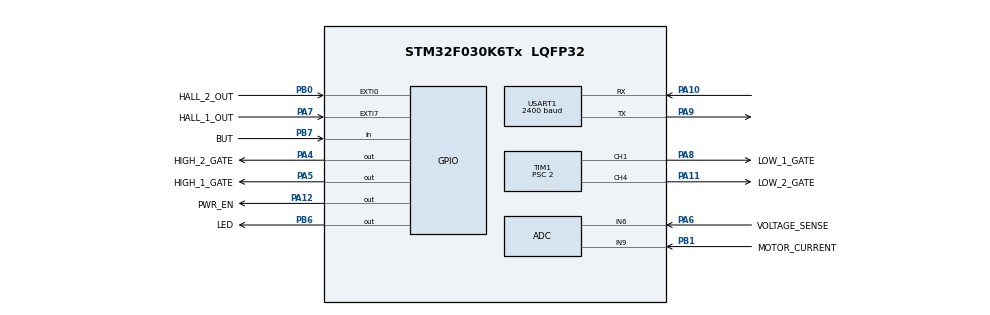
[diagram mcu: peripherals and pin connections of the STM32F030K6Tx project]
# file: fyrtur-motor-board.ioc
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ADC.ClockPrescaler=ADC_CLOCK_SYNC_PCLK_DIV4
ADC.ContinuousConvMode=ENABLE
ADC.DMAContinuousRequests=ENABLE
ADC.EOCSelection=ADC_EOC_SINGLE_CONV
ADC.Overrun=ADC_OVR_DATA_OVERWRITTEN
ADC.SamplingTime=ADC_SAMPLETIME_239CYCLES_5
Dma.ADC.0.Direction=DMA_PERIPH_TO_MEMORY
Dma.ADC.0.Instance=DMA1_Channel1
Dma.ADC.0.MemDataAlignment=DMA_MDATAALIGN_HALFWORD
Dma.ADC.0.MemInc=DMA_MINC_ENABLE
Dma.ADC.0.Mode=DMA_CIRCULAR
Dma.ADC.0.PeriphDataAlignment=DMA_PDATAALIGN_HALFWORD
Dma.ADC.0.PeriphInc=DMA_PINC_DISABLE
Dma.ADC.0.Priority=DMA_PRIORITY_LOW
Dma.Request0=ADC
Dma.Request1=USART1_RX
Dma.Request2=USART1_TX
Dma.USART1_RX.1.Direction=DMA_PERIPH_TO_MEMORY
Dma.USART1_RX.1.Instance=DMA1_Channel3
Dma.USART1_RX.1.MemDataAlignment=DMA_MDATAALIGN_BYTE
Dma.USART1_RX.1.MemInc=DMA_MINC_ENABLE
Dma.USART1_RX.1.Mode=DMA_CIRCULAR
Dma.USART1_RX.1.PeriphDataAlignment=DMA_PDATAALIGN_BYTE
Dma.USART1_RX.1.PeriphInc=DMA_PINC_DISABLE
Dma.USART1_RX.1.Priority=DMA_PRIORITY_HIGH
Dma.USART1_TX.2.Direction=DMA_MEMORY_TO_PERIPH
Dma.USART1_TX.2.Instance=DMA1_Channel2
Dma.USART1_TX.2.MemDataAlignment=DMA_MDATAALIGN_BYTE
Dma.USART1_TX.2.MemInc=DMA_MINC_ENABLE
Dma.USART1_TX.2.Mode=DMA_NORMAL
Dma.USART1_TX.2.PeriphDataAlignment=DMA_PDATAALIGN_BYTE
Dma.USART1_TX.2.PeriphInc=DMA_PINC_DISABLE
Dma.USART1_TX.2.Priority=DMA_PRIORITY_HIGH
Mcu.Family=STM32F0
Mcu.Name=STM32F030K6Tx
Mcu.Package=LQFP32
NVIC.DMA1_Channel1_IRQn=true\:0\:0\:false\:false\:true\:false\:true
NVIC.DMA1_Channel2_3_IRQn=true\:0\:0\:false\:false\:true\:false\:true
NVIC.EXTI0_1_IRQn=true\:0\:0\:false\:false\:true\:true\:true
NVIC.EXTI4_15_IRQn=true\:0\:0\:false\:false\:true\:true\:true
NVIC.TIM3_IRQn=true\:0\:0\:false\:false\:true\:true\:true
NVIC.USART1_IRQn=true\:0\:0\:false\:false\:true\:true\:true
PA10.Mode=Asynchronous
PA10.Signal=USART1_RX
PA11.GPIO_Label=LOW_2_GATE
PA11.GPIO_PuPd=GPIO_PULLDOWN
PA11.Signal=S_TIM1_CH4
PA12.GPIO_Label=PWR_EN
PA12.Signal=GPIO_Output
PA13.Mode=Serial_Wire
PA13.Signal=SYS_SWDIO
PA14.Mode=Serial_Wire
PA14.Signal=SYS_SWCLK
PA4.GPIO_Label=HIGH_2_GATE
PA4.Signal=GPIO_Output
PA5.GPIO_Label=HIGH_1_GATE
PA5.Signal=GPIO_Output
PA6.GPIO_Label=VOLTAGE_SENSE
PA6.Mode=IN6
PA6.Signal=ADC_IN6
PA7.GPIO_Label=HALL_1_OUT
PA7.GPIO_ModeDefaultEXTI=GPIO_MODE_IT_RISING_FALLING
PA7.GPIO_PuPd=GPIO_PULLUP
PA7.Signal=GPXTI7
PA8.GPIO_Label=LOW_1_GATE
PA8.GPIO_PuPd=GPIO_PULLDOWN
PA8.Signal=S_TIM1_CH1
PA9.Mode=Asynchronous
PA9.Signal=USART1_TX
PB0.GPIO_Label=HALL_2_OUT
PB0.GPIO_ModeDefaultEXTI=GPIO_MODE_IT_RISING_FALLING
PB0.GPIO_PuPd=GPIO_PULLUP
PB0.Signal=GPXTI0
PB1.GPIO_Label=MOTOR_CURRENT
PB1.Mode=IN9
PB1.Signal=ADC_IN9
PB6.GPIO_Label=LED
PB6.Signal=GPIO_Output
PB7.GPIO_Label=BUT
PB7.Signal=GPIO_Input
ProjectManager.HeapSize=0x200
ProjectManager.StackSize=0x400
ProjectManager.TargetToolchain=Makefile
SH.S_TIM1_CH1.0=TIM1_CH1,PWM Generation1 CH1
SH.S_TIM1_CH4.0=TIM1_CH4,PWM Generation4 CH4
TIM1.Channel-PWM\ Generation1\ CH1=TIM_CHANNEL_1
TIM1.Channel-PWM\ Generation4\ CH4=TIM_CHANNEL_4
TIM1.Period=256
TIM1.Prescaler=2
TIM3.Channel-Output\ Compare1\ No\ Output=TIM_CHANNEL_1
TIM3.Period=80
TIM3.Prescaler=1000
USART1.BaudRate=2400
USART1.VirtualMode-Asynchronous=VM_ASYNC
VP_TIM3_VS_ClockSourceINT.Mode=Internal
VP_TIM3_VS_no_output1.Mode=Output Compare1 No Output
board=custom

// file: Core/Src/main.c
/* USER CODE BEGIN Header */
/**
  ******************************************************************************
  * @file           : main.c
  * @brief          : Main program body
  ******************************************************************************
  * @attention
  *
  * <h2><center>&copy; Copyright (c) 2020 STMicroelectronics.
  * All rights reserved.</center></h2>
  *
  * This software component is licensed by ST under BSD 3-Clause license,
  * the "License"; You may not use this file except in compliance with the
  * License. You may obtain a copy of the License at:
  *                        opensource.org/licenses/BSD-3-Clause
  *
  ******************************************************************************
  */
/* USER CODE END Header */
#include "main.h"

/* USER CODE BEGIN Includes */
#include "motor.h"
#include "eeprom.h"
/* USER CODE END Includes */

/* USER CODE BEGIN PD */
#define ADC_BUF_LEN 2*32

/* USER CODE END PD */

ADC_HandleTypeDef hadc;
DMA_HandleTypeDef hdma_adc;

TIM_HandleTypeDef htim1;
TIM_HandleTypeDef htim3;

UART_HandleTypeDef huart1;
DMA_HandleTypeDef hdma_usart1_rx;
DMA_HandleTypeDef hdma_usart1_tx;

extern uint32_t idle_mode_sleep_delay;

/* USER CODE BEGIN PV */

// UART RX buffers
DMA_Event_t dma_uart_rx = {0,0,UART_DMA_BUF_SIZE};
uint8_t uart_dma_rx_buffer[UART_DMA_BUF_SIZE]; // circular DMA rx buffer
uint8_t uart_rx_buffer[UART_DMA_BUF_SIZE]; // contains newly received data
uint16_t uart_rx_buffer_len = 0;

// UART TX buffers
uint8_t uart_dma_tx_buffer[UART_DMA_BUF_SIZE]; // circular DMA tx buffer
uint8_t uart_dma_tx_size = 0;  // the chunk size which is being transferred currently
uint16_t uart_dma_tx_buffer_len = 0;  // bytes in the circular buffer
uint16_t uart_dma_tx_buffer_high_ptr = 0; // pointer for writing new data
uint16_t uart_dma_tx_buffer_low_ptr = 0; // pointer for reading data to DMA
uint8_t uart_tx_buffer[16]; // contains newly assembled packet to be transferred to DMA buffer

uint8_t blink;

uint16_t adc_buf[ADC_BUF_LEN];

uint16_t motor_current;
uint16_t voltage;

/*
 * Used to track when motor is idle and no commands have been issued.
 * After IDLE_MODE_SLEEP_DELAY milliseconds sleep mode is entered.
 * If set to 0 then sleep mode is disabled temporarily (e.g. during movement and calibration)
 */
uint32_t idle_timestamp;

/* USER CODE END PV */

void SystemClock_Config(void);
static void MX_GPIO_Init(void);
static void MX_DMA_Init(void);
static void MX_ADC_Init(void);
static void MX_USART1_UART_Init(void);
static void MX_TIM1_Init(void);
static void MX_TIM3_Init(void);

/* USER CODE BEGIN 0 */
uint16_t lowest_voltage = 8.4*16*30;

// Calculate the average voltage and current of 32 previous measurements
void HAL_ADC_ConvCpltCallback(ADC_HandleTypeDef* hadc) {
	uint32_t avg_curr = 0, avg_voltage = 0;
	for (int i=0;i<ADC_BUF_LEN/2;i++) {
		avg_curr += adc_buf[i*2+1] * 2;	// current in mA
		avg_voltage += adc_buf[i*2+0];	// values are Volts * 30 * 16
	}
	motor_current = avg_curr / (ADC_BUF_LEN/2);
	voltage = avg_voltage / (ADC_BUF_LEN/2);
  if (voltage < lowest_voltage) {
    lowest_voltage = voltage;
  }
}

uint16_t get_voltage() {
  return voltage;
}

uint16_t get_motor_current() {
	return motor_current;
}

// S-shaped battery/voltage curve mimicking the values reported by original Fyrtur module
uint8_t get_battery_level() {
	uint16_t v = get_voltage() / 16; // For easier calculation use the values reported by original Fyrtur module
	if (v < 200)
		return 0;
	if (v <= 215)
		return 0 + (v - 200) * (16-0) / (215-200);
	if (v <= 218)
		return 16 + (v - 215) * (27-16) / (218-215);
	if (v <= 221)
		return 27 + (v - 218) * (43-27) / (221-218);
	if (v <= 228)
		return 43 + (v - 221) * (62-43) / (228-221);
	if (v <= 246)
		return 62 + (v - 228) * (91-62) / (246-228);
	return 91 + (v - 246) * (100-91) / (255-246);
}

void pwm_start( uint32_t channel ) {
	if (htim1.Instance != NULL)
		HAL_TIM_PWM_Start(&htim1, channel);

}

void pwm_stop( uint32_t channel ) {
	if (htim1.Instance != NULL)
		HAL_TIM_PWM_Stop(&htim1, channel);
}

#ifndef SLIM_BINARY
void blink_led(int duration, int count) {
	for (int i=0;i<count;i++) {
		HAL_GPIO_WritePin(LED_GPIO_Port, LED_Pin, GPIO_PIN_SET);
		HAL_Delay(duration);
		HAL_GPIO_WritePin(LED_GPIO_Port, LED_Pin, GPIO_PIN_RESET);
		HAL_Delay(duration);
	}
}
#endif

/* Called every 10ms by TIM3 */
void HAL_TIM_PeriodElapsedCallback(TIM_HandleTypeDef* htim)
{
	motor_adjust_rpm();
}

uint8_t uart_tx_done() {
  return uart_dma_tx_buffer_len == 0;
}

void uart_start_rx_DMA() {
  if(HAL_UART_Receive_DMA(&huart1, (uint8_t*)uart_dma_rx_buffer, UART_DMA_BUF_SIZE) != HAL_OK)
      {
          Error_Handler();
      }
  __HAL_DMA_DISABLE_IT(huart1.hdmarx, DMA_IT_HT);  // disable half-transfer interrupt
  // Reset also the buffer pointer
  dma_uart_rx.prevCNDTR = UART_DMA_BUF_SIZE;
}

void uart_do_transmit_msg() {
    if (uart_dma_tx_buffer_low_ptr + uart_dma_tx_buffer_len < UART_DMA_BUF_SIZE) {
      // we can transfer the whole tx buffer right away
      uart_dma_tx_size = uart_dma_tx_buffer_len;
    } else {
      // we can transfer bytes only up to the end of circular buffer
      uart_dma_tx_size = UART_DMA_BUF_SIZE - uart_dma_tx_buffer_low_ptr;
    }
    HAL_UART_Transmit_DMA(&huart1, &uart_dma_tx_buffer[uart_dma_tx_buffer_low_ptr], uart_dma_tx_size);
}

void uart_send_msg(uint8_t * data, int tx_bytes) {

  if (uart_dma_tx_buffer_len + tx_bytes > UART_DMA_BUF_SIZE) {
    // Buffer overrun shouldn't happen in normal use! Should this occur when debugging/testing, skip sending this message
    // so that previous data in tx buffer is not overwritten
    blink += 5;
    return;
  }
  // transfer the packet to circular tx buffer
  for (int i=0;i<tx_bytes;i++) {
    uart_dma_tx_buffer[ uart_dma_tx_buffer_high_ptr++ ] = data[i];
    if (uart_dma_tx_buffer_high_ptr >= UART_DMA_BUF_SIZE) {
      uart_dma_tx_buffer_high_ptr = 0;
    }
    uart_dma_tx_buffer_len++;
  }
  // if DMA tx is not busy we can send the packet right away. Otherwise continue sending in HAL_UART_TxCpltCallback
  if (uart_dma_tx_size == 0) {
    uart_do_transmit_msg();
  }
}

void send_error_msg() {
    // Send ERROR MSG: Send back the number of bytes received and
    // 1) first four received bytes if we received less bytes than anticipated (6 bytes)
    // 2) the 2 command bytes and checksum (because we received 6 bytes but there was checksum mismatch)
    uart_tx_buffer[0] = 0xde;
    uart_tx_buffer[1] = 0xad;
    uart_tx_buffer[2] = uart_rx_buffer_len;
    if (uart_rx_buffer_len<6) {
      uart_tx_buffer[3] = uart_rx_buffer[0];
      uart_tx_buffer[4] = uart_rx_buffer[1];
      uart_tx_buffer[5] = uart_rx_buffer[2];
      uart_tx_buffer[6] = uart_rx_buffer[3];
    } else {
      uart_tx_buffer[3] = uart_rx_buffer[3];
      uart_tx_buffer[4] = uart_rx_buffer[4];
      uart_tx_buffer[5] = uart_rx_buffer[5];
      uart_tx_buffer[6] = 0;
    }
    uart_tx_buffer[7] = uart_tx_buffer[3] ^ uart_tx_buffer[4] ^ uart_tx_buffer[5] ^ uart_tx_buffer[6];
    uart_send_msg(uart_tx_buffer, 8);
}

void HAL_UART_RxCpltCallback(UART_HandleTypeDef *huart)
{
	uint16_t i, pos, start, length;
	uint16_t currCNDTR = __HAL_DMA_GET_COUNTER(huart->hdmarx);

	/* Ignore IDLE Timeout when the received characters exactly filled up the DMA buffer and DMA Rx Complete IT is generated, but there is no new character during timeout */
	if(dma_uart_rx.flag && currCNDTR == UART_DMA_BUF_SIZE)
	{
		dma_uart_rx.flag = 0;
		return;
	}

	/* Determine start position in DMA buffer based on previous CNDTR value */
	start = (dma_uart_rx.prevCNDTR < UART_DMA_BUF_SIZE) ? (UART_DMA_BUF_SIZE - dma_uart_rx.prevCNDTR) : 0;

	if(dma_uart_rx.flag)    /* Timeout event */
	{
		/* Determine new data length based on previous DMA_CNDTR value:
		 *  If previous CNDTR is less than DMA buffer size: there is old data in DMA buffer (from previous timeout) that has to be ignored.
		 *  If CNDTR == DMA buffer size: entire buffer content is new and has to be processed.
		*/
		length = (dma_uart_rx.prevCNDTR < UART_DMA_BUF_SIZE) ? (dma_uart_rx.prevCNDTR - currCNDTR) : (UART_DMA_BUF_SIZE - currCNDTR);
		dma_uart_rx.prevCNDTR = currCNDTR;
		dma_uart_rx.flag = 0;

		if ( (length==0) && (uart_rx_buffer_len>0) ) {
			// There was incomplete packet waiting for the rest of the data which never came..
      if ( (uart_rx_buffer_len >= 5) && (uart_rx_buffer[0]==0xff) && (uart_rx_buffer[1]==0x9a) ) {
        // After waking up we lost the first byte (0x00) but the two other bytes match, so let's try to process this

        // shift buffer 1 byte forward..
        for(i=0; i<uart_rx_buffer_len; i++)
        {
          uart_rx_buffer[i+1] = uart_dma_rx_buffer[i];
        }
        // and add the missing first byte
        uart_rx_buffer[0] = 0x00;
        uart_rx_buffer_len++;
        // .. processing continues below..

      } else {
        send_error_msg();
        uart_rx_buffer_len = 0;
      }
		}
	}
	else                /* DMA Rx Complete event */
	{
		length = UART_DMA_BUF_SIZE - start;
		dma_uart_rx.prevCNDTR = UART_DMA_BUF_SIZE;
	}

	/* Copy and Process new data */
	// Acknowledge also the possible previously received (incomplete) packet
	for(i=0,pos=start; i<length; ++i,++pos)
	{
		uart_rx_buffer[uart_rx_buffer_len + i] = uart_dma_rx_buffer[pos];
	}
	length += uart_rx_buffer_len;

	// handle the packet(s)
	pos=0;
	uint16_t len = length;
	while (len>=6) {
		uint8_t tx_bytes=0;
		if (handle_command(&uart_rx_buffer[pos], uart_tx_buffer, &tx_bytes )) {
			if (tx_bytes) {
				uart_tx_buffer[0] = 0x00;
				uart_tx_buffer[1] = 0xff;
        // calculate checksum
        uint8_t checksum = 0;
        for (i=3; i<tx_bytes-1; i++) {
          checksum = checksum ^ uart_tx_buffer[i];
        }
        uart_tx_buffer[tx_bytes-1] = checksum;
        uart_send_msg(uart_tx_buffer, tx_bytes);
			}
//      blink += 1;
			pos += 6;
			len -= 6;
		}
	}
	if (pos < length) {
		// Incomplete packet (either true loss of data or we are waiting
		// for more data from DMA but arrived at the end of the cyclic DMA buffer
		// while mid-packet, and must wait for the next DMA interrupt for the rest of the data

		// lets save the first chunk
		len = length - pos;
		if (pos != 0) {
			for (int i=0;i<len;i++)
				uart_rx_buffer[i] = uart_rx_buffer[pos+i];
		}
		uart_rx_buffer_len = len;

		/* Start DMA timer */
		dma_uart_rx.timer = DMA_TIMEOUT_MS;
	} else {
		uart_rx_buffer_len = 0;
	}
}

void HAL_UART_TxCpltCallback(UART_HandleTypeDef *huart) {
  // UART DMA TX is complete. Adjust buffer size and low pointer (read pointer)
  uart_dma_tx_buffer_len -= uart_dma_tx_size;
  uart_dma_tx_buffer_low_ptr += uart_dma_tx_size;
  if (uart_dma_tx_buffer_low_ptr >= UART_DMA_BUF_SIZE) {
    uart_dma_tx_buffer_low_ptr -= UART_DMA_BUF_SIZE;
  }
  if (uart_dma_tx_buffer_len > 0) {
    // transfer more data
    uart_do_transmit_msg();
  } else {
    uart_dma_tx_size = 0;
  }
}

void HAL_UART_ErrorCallback(UART_HandleTypeDef *huart) {
	//Error_Handler();

	// Sometimes HAL_UART_ERROR_FE occurs on power on. Manage this..
  __HAL_UART_CLEAR_OREFLAG(huart);
  __HAL_UART_CLEAR_NEFLAG(huart);
  __HAL_UART_CLEAR_FEFLAG(huart);

  /* Disable the UART Error Interrupt: (Frame error, noise error, overrun error) */
  __HAL_UART_DISABLE_IT(huart, UART_IT_ERR);

  if(huart->Instance == USART1) {
    // Restart the RX DMA
    uart_start_rx_DMA();
  }
}

void HAL_GPIO_EXTI_Callback(uint16_t GPIO_Pin) {
	if (GPIO_Pin == HALL_1_OUT_Pin) {
		  hall_sensor_callback(HALL_1_SENSOR, HAL_GPIO_ReadPin( HALL_1_OUT_GPIO_Port, HALL_1_OUT_Pin));
	} else if (GPIO_Pin == HALL_2_OUT_Pin) {
		  hall_sensor_callback(HALL_2_SENSOR, HAL_GPIO_ReadPin( HALL_2_OUT_GPIO_Port, HALL_2_OUT_Pin));
	}
}

uint8_t sleep_timer_enabled() {
	return (idle_timestamp != 0);
}

void disable_sleep_timer() {
	idle_timestamp = 0; // disable sleep mode timer
}

void reset_sleep_timer() {
	idle_timestamp = HAL_GetTick();
}

uint8_t sleep_timer_timeout() {
  if (idle_mode_sleep_delay > 0) {
    if (idle_timestamp == 0)
      return 0;
    if (HAL_GetTick() - idle_timestamp > idle_mode_sleep_delay)
      return 1;
  }
  return 0;
}

/*
 * Original FW: Sleep mode current consumption 0.350 mA @ 7V (ST-Link connected)
 *
 * This FW:
 *  run (normal mode): 13 mA
 *  sleep mode: 1.7 mA (not used currently)
 *  stop mode: 0.337 mA (ST-Link connected)
 */
void enter_sleep_mode() {

  // Stop TIM3 (motor RPM adjust timer) and ADC
  HAL_TIM_Base_Stop_IT(&htim3);
  HAL_ADC_Stop_DMA(&hadc);

  // Disable HALL sensors and voltage sensor (LM321 op amp)
  HAL_GPIO_WritePin(PWR_EN_GPIO_Port, PWR_EN_Pin, GPIO_PIN_RESET);

#ifdef BLINK_LEDS_WHEN_SLEEP_MODE_CHANGES
  blink_led(100,1);
#endif

  // stop SysTick
  HAL_SuspendTick();

  // Deinitialize UART and use UART1_RX only for wake-up interrupt
  HAL_UART_DeInit(&huart1);

  GPIO_InitTypeDef GPIO_InitStruct = {0};
  GPIO_InitStruct.Pin = GPIO_PIN_10;  // UART1_RX
  GPIO_InitStruct.Mode = GPIO_MODE_IT_FALLING;
  GPIO_InitStruct.Pull = GPIO_NOPULL;
  HAL_GPIO_Init(GPIOA, &GPIO_InitStruct);

#ifdef WAKE_UP_USING_BUTTON
  // Allow waking up with the debug button
  GPIO_InitStruct.Pin = BUT_Pin;
  GPIO_InitStruct.Mode = GPIO_MODE_IT_FALLING;
  GPIO_InitStruct.Pull = GPIO_PULLUP;
  HAL_GPIO_Init(BUT_GPIO_Port, &GPIO_InitStruct);
#endif

  // APB peripheral power interface clock needs to be enabled
  __HAL_RCC_PWR_CLK_ENABLE();

  // --- Go to sleep (Stop mode) ------
  //HAL_PWR_EnterSLEEPMode(PWR_MAINREGULATOR_ON, PWR_SLEEPENTRY_WFE);
  HAL_PWR_EnterSTOPMode(PWR_LOWPOWERREGULATOR_ON, PWR_STOPENTRY_WFI);

  // ---- Now we are awake ---

  // Is this needed?
  // SystemClock_Config();

  // Restart SysTick
  HAL_ResumeTick();

  MX_USART1_UART_Init();

  uart_start_rx_DMA();

#ifdef BLINK_LEDS_WHEN_SLEEP_MODE_CHANGES
  blink_led(100,1);
#endif

#ifdef WAKE_UP_USING_BUTTON
  // Disable BUTTON interrupt because it interferes with HALL #1 sensor interrupt
  /*Configure GPIO pin : BUT_Pin */
  GPIO_InitStruct.Pin = BUT_Pin;
  GPIO_InitStruct.Mode = GPIO_MODE_INPUT;
  GPIO_InitStruct.Pull = GPIO_NOPULL;
  HAL_GPIO_Init(BUT_GPIO_Port, &GPIO_InitStruct);

  GPIO_InitStruct.Pin = HALL_1_OUT_Pin;
  GPIO_InitStruct.Mode = GPIO_MODE_IT_RISING_FALLING;
  GPIO_InitStruct.Pull = GPIO_PULLUP;
  HAL_GPIO_Init(HALL_1_OUT_GPIO_Port, &GPIO_InitStruct);
#endif

  HAL_ADC_Start_DMA(&hadc, (uint32_t*)adc_buf, ADC_BUF_LEN);
  __HAL_DMA_DISABLE_IT(hadc.DMA_Handle, DMA_IT_HT);  // disable half-transfer interrupt

  HAL_TIM_Base_Start_IT(&htim3);

  // Enable HALL sensors and voltage sensor (LM321 op amp)
  HAL_GPIO_WritePin(PWR_EN_GPIO_Port, PWR_EN_Pin, GPIO_PIN_SET);

}

/* USER CODE END 0 */

int main(void)
{
  /* USER CODE BEGIN 1 */
  htim1.Instance = NULL;
  /* USER CODE END 1 */

  /* MCU Configuration--------------------------------------------------------*/

  /* Reset of all peripherals, Initializes the Flash interface and the Systick. */
  HAL_Init();

  /* Configure the system clock */
  SystemClock_Config();

  /* Initialize all configured peripherals */
  MX_GPIO_Init();
  MX_DMA_Init();
  MX_ADC_Init();
  MX_USART1_UART_Init();
  MX_TIM1_Init();
  MX_TIM3_Init();
  /* USER CODE BEGIN 2 */
  HAL_ADC_Start_DMA(&hadc, (uint32_t*)adc_buf, ADC_BUF_LEN);
  __HAL_DMA_DISABLE_IT(hadc.DMA_Handle, DMA_IT_HT);  // disable half-transfer interrupt

  HAL_TIM_Base_Start_IT(&htim3);

  /* Unlock the Flash Program Erase controller */
  HAL_FLASH_Unlock();

#ifndef SLIM_BINARY
  /* EEPROM Init */
  if (EE_Init() != HAL_OK) {
	  // Initing FLASH failed! This should not happen! We will try to continue anyway by setting default values
	  motor_set_default_settings();
  } else {
	  motor_load_settings();
  }
#else
  motor_set_default_settings();
#endif

  /* USER CODE END 2 */

  /* Infinite loop */
  /* USER CODE BEGIN WHILE */

  // Enable HALL sensors and voltage sensor (LM321 op amp)
  HAL_GPIO_WritePin(PWR_EN_GPIO_Port, PWR_EN_Pin, GPIO_PIN_SET);

  // Start UART receiver in DMA mode
  uart_start_rx_DMA();

  motor_init();

#ifndef SLIM_BINARY
  blink_led(500,2);
#endif

  while (1)
  {
    /* USER CODE END WHILE */

    /* USER CODE BEGIN 3 */
	if (blink) {
    uint8_t _blink = blink;
    blink = 0;

#ifndef SLIM_BINARY
		blink_led(100,_blink);
#endif
	}

	motor_process();

  }
  /* USER CODE END 3 */
}

void SystemClock_Config(void)
{
  RCC_OscInitTypeDef RCC_OscInitStruct = {0};
  RCC_ClkInitTypeDef RCC_ClkInitStruct = {0};
  RCC_PeriphCLKInitTypeDef PeriphClkInit = {0};

  /** Initializes the RCC Oscillators according to the specified parameters
  * in the RCC_OscInitTypeDef structure.
  */
  RCC_OscInitStruct.OscillatorType = RCC_OSCILLATORTYPE_HSI;
  RCC_OscInitStruct.HSIState = RCC_HSI_ON;
  RCC_OscInitStruct.HSICalibrationValue = RCC_HSICALIBRATION_DEFAULT;
  RCC_OscInitStruct.PLL.PLLState = RCC_PLL_NONE;
  if (HAL_RCC_OscConfig(&RCC_OscInitStruct) != HAL_OK)
  {
    Error_Handler();
  }
  /** Initializes the CPU, AHB and APB buses clocks
  */
  RCC_ClkInitStruct.ClockType = RCC_CLOCKTYPE_HCLK|RCC_CLOCKTYPE_SYSCLK
                              |RCC_CLOCKTYPE_PCLK1;
  RCC_ClkInitStruct.SYSCLKSource = RCC_SYSCLKSOURCE_HSI;
  RCC_ClkInitStruct.AHBCLKDivider = RCC_SYSCLK_DIV1;
  RCC_ClkInitStruct.APB1CLKDivider = RCC_HCLK_DIV1;

  if (HAL_RCC_ClockConfig(&RCC_ClkInitStruct, FLASH_LATENCY_0) != HAL_OK)
  {
    Error_Handler();
  }
  PeriphClkInit.PeriphClockSelection = RCC_PERIPHCLK_USART1;
  PeriphClkInit.Usart1ClockSelection = RCC_USART1CLKSOURCE_PCLK1;
  if (HAL_RCCEx_PeriphCLKConfig(&PeriphClkInit) != HAL_OK)
  {
    Error_Handler();
  }
}

static void MX_ADC_Init(void)
{

  ADC_ChannelConfTypeDef sConfig = {0};

  /** Configure the global features of the ADC (Clock, Resolution, Data Alignment and number of conversion)
  */
  hadc.Instance = ADC1;
  hadc.Init.ClockPrescaler = ADC_CLOCK_SYNC_PCLK_DIV4;
  hadc.Init.Resolution = ADC_RESOLUTION_12B;
  hadc.Init.DataAlign = ADC_DATAALIGN_RIGHT;
  hadc.Init.ScanConvMode = ADC_SCAN_DIRECTION_FORWARD;
  hadc.Init.EOCSelection = ADC_EOC_SINGLE_CONV;
  hadc.Init.LowPowerAutoWait = DISABLE;
  hadc.Init.LowPowerAutoPowerOff = DISABLE;
  hadc.Init.ContinuousConvMode = ENABLE;
  hadc.Init.DiscontinuousConvMode = DISABLE;
  hadc.Init.ExternalTrigConv = ADC_SOFTWARE_START;
  hadc.Init.ExternalTrigConvEdge = ADC_EXTERNALTRIGCONVEDGE_NONE;
  hadc.Init.DMAContinuousRequests = ENABLE;
  hadc.Init.Overrun = ADC_OVR_DATA_OVERWRITTEN;
  if (HAL_ADC_Init(&hadc) != HAL_OK)
  {
    Error_Handler();
  }
  /** Configure for the selected ADC regular channel to be converted.
  */
  sConfig.Channel = ADC_CHANNEL_6;
  sConfig.Rank = ADC_RANK_CHANNEL_NUMBER;
  sConfig.SamplingTime = ADC_SAMPLETIME_239CYCLES_5;
  if (HAL_ADC_ConfigChannel(&hadc, &sConfig) != HAL_OK)
  {
    Error_Handler();
  }
  /** Configure for the selected ADC regular channel to be converted.
  */
  sConfig.Channel = ADC_CHANNEL_9;
  if (HAL_ADC_ConfigChannel(&hadc, &sConfig) != HAL_OK)
  {
    Error_Handler();
  }

}

static void MX_TIM1_Init(void)
{

  TIM_MasterConfigTypeDef sMasterConfig = {0};
  TIM_OC_InitTypeDef sConfigOC = {0};
  TIM_BreakDeadTimeConfigTypeDef sBreakDeadTimeConfig = {0};

  htim1.Instance = TIM1;
  htim1.Init.Prescaler = 2;
  htim1.Init.CounterMode = TIM_COUNTERMODE_UP;
  htim1.Init.Period = 256;
  htim1.Init.ClockDivision = TIM_CLOCKDIVISION_DIV1;
  htim1.Init.RepetitionCounter = 0;
  htim1.Init.AutoReloadPreload = TIM_AUTORELOAD_PRELOAD_DISABLE;
  if (HAL_TIM_PWM_Init(&htim1) != HAL_OK)
  {
    Error_Handler();
  }
  sMasterConfig.MasterOutputTrigger = TIM_TRGO_RESET;
  sMasterConfig.MasterSlaveMode = TIM_MASTERSLAVEMODE_DISABLE;
  if (HAL_TIMEx_MasterConfigSynchronization(&htim1, &sMasterConfig) != HAL_OK)
  {
    Error_Handler();
  }
  sConfigOC.OCMode = TIM_OCMODE_PWM1;
  sConfigOC.Pulse = 0;
  sConfigOC.OCPolarity = TIM_OCPOLARITY_HIGH;
  sConfigOC.OCNPolarity = TIM_OCNPOLARITY_HIGH;
  sConfigOC.OCFastMode = TIM_OCFAST_DISABLE;
  sConfigOC.OCIdleState = TIM_OCIDLESTATE_RESET;
  sConfigOC.OCNIdleState = TIM_OCNIDLESTATE_RESET;
  if (HAL_TIM_PWM_ConfigChannel(&htim1, &sConfigOC, TIM_CHANNEL_1) != HAL_OK)
  {
    Error_Handler();
  }
  if (HAL_TIM_PWM_ConfigChannel(&htim1, &sConfigOC, TIM_CHANNEL_4) != HAL_OK)
  {
    Error_Handler();
  }
  sBreakDeadTimeConfig.OffStateRunMode = TIM_OSSR_DISABLE;
  sBreakDeadTimeConfig.OffStateIDLEMode = TIM_OSSI_DISABLE;
  sBreakDeadTimeConfig.LockLevel = TIM_LOCKLEVEL_OFF;
  sBreakDeadTimeConfig.DeadTime = 0;
  sBreakDeadTimeConfig.BreakState = TIM_BREAK_DISABLE;
  sBreakDeadTimeConfig.BreakPolarity = TIM_BREAKPOLARITY_HIGH;
  sBreakDeadTimeConfig.AutomaticOutput = TIM_AUTOMATICOUTPUT_DISABLE;
  if (HAL_TIMEx_ConfigBreakDeadTime(&htim1, &sBreakDeadTimeConfig) != HAL_OK)
  {
    Error_Handler();
  }
  HAL_TIM_MspPostInit(&htim1);

}

static void MX_TIM3_Init(void)
{

  TIM_ClockConfigTypeDef sClockSourceConfig = {0};
  TIM_MasterConfigTypeDef sMasterConfig = {0};
  TIM_OC_InitTypeDef sConfigOC = {0};

  htim3.Instance = TIM3;
  htim3.Init.Prescaler = 1000;
  htim3.Init.CounterMode = TIM_COUNTERMODE_UP;
  htim3.Init.Period = 80;
  htim3.Init.ClockDivision = TIM_CLOCKDIVISION_DIV1;
  htim3.Init.AutoReloadPreload = TIM_AUTORELOAD_PRELOAD_DISABLE;
  if (HAL_TIM_Base_Init(&htim3) != HAL_OK)
  {
    Error_Handler();
  }
  sClockSourceConfig.ClockSource = TIM_CLOCKSOURCE_INTERNAL;
  if (HAL_TIM_ConfigClockSource(&htim3, &sClockSourceConfig) != HAL_OK)
  {
    Error_Handler();
  }
  if (HAL_TIM_OC_Init(&htim3) != HAL_OK)
  {
    Error_Handler();
  }
  sMasterConfig.MasterOutputTrigger = TIM_TRGO_RESET;
  sMasterConfig.MasterSlaveMode = TIM_MASTERSLAVEMODE_DISABLE;
  if (HAL_TIMEx_MasterConfigSynchronization(&htim3, &sMasterConfig) != HAL_OK)
  {
    Error_Handler();
  }
  sConfigOC.OCMode = TIM_OCMODE_TIMING;
  sConfigOC.Pulse = 0;
  sConfigOC.OCPolarity = TIM_OCPOLARITY_HIGH;
  sConfigOC.OCFastMode = TIM_OCFAST_DISABLE;
  if (HAL_TIM_OC_ConfigChannel(&htim3, &sConfigOC, TIM_CHANNEL_1) != HAL_OK)
  {
    Error_Handler();
  }

}

static void MX_USART1_UART_Init(void)
{

  huart1.Instance = USART1;
  huart1.Init.BaudRate = 2400;
  huart1.Init.WordLength = UART_WORDLENGTH_8B;
  huart1.Init.StopBits = UART_STOPBITS_1;
  huart1.Init.Parity = UART_PARITY_NONE;
  huart1.Init.Mode = UART_MODE_TX_RX;
  huart1.Init.HwFlowCtl = UART_HWCONTROL_NONE;
  huart1.Init.OverSampling = UART_OVERSAMPLING_16;
  huart1.Init.OneBitSampling = UART_ONE_BIT_SAMPLE_DISABLE;
  huart1.AdvancedInit.AdvFeatureInit = UART_ADVFEATURE_NO_INIT;
  if (HAL_UART_Init(&huart1) != HAL_OK)
  {
    Error_Handler();
  }
  /* USER CODE BEGIN USART1_Init 2 */

  /* UART1 IDLE Interrupt Configuration */
  SET_BIT(USART1->CR1, USART_CR1_IDLEIE);

  /* USER CODE END USART1_Init 2 */

}

static void MX_DMA_Init(void)
{

  /* DMA controller clock enable */
  __HAL_RCC_DMA1_CLK_ENABLE();

  /* DMA interrupt init */
  /* DMA1_Channel1_IRQn interrupt configuration */
  HAL_NVIC_SetPriority(DMA1_Channel1_IRQn, 0, 0);
  HAL_NVIC_EnableIRQ(DMA1_Channel1_IRQn);
  /* DMA1_Channel2_3_IRQn interrupt configuration */
  HAL_NVIC_SetPriority(DMA1_Channel2_3_IRQn, 0, 0);
  HAL_NVIC_EnableIRQ(DMA1_Channel2_3_IRQn);

}

static void MX_GPIO_Init(void)
{
  GPIO_InitTypeDef GPIO_InitStruct = {0};

  /* GPIO Ports Clock Enable */
  __HAL_RCC_GPIOF_CLK_ENABLE();
  __HAL_RCC_GPIOA_CLK_ENABLE();
  __HAL_RCC_GPIOB_CLK_ENABLE();

  /*Configure GPIO pin Output Level */
  HAL_GPIO_WritePin(GPIOA, HIGH_2_GATE_Pin|HIGH_1_GATE_Pin|PWR_EN_Pin, GPIO_PIN_RESET);

  /*Configure GPIO pin Output Level */
  HAL_GPIO_WritePin(LED_GPIO_Port, LED_Pin, GPIO_PIN_RESET);

  /*Configure GPIO pins : PF0 PF1 */
  GPIO_InitStruct.Pin = GPIO_PIN_0|GPIO_PIN_1;
  GPIO_InitStruct.Mode = GPIO_MODE_ANALOG;
  GPIO_InitStruct.Pull = GPIO_NOPULL;
  HAL_GPIO_Init(GPIOF, &GPIO_InitStruct);

  /*Configure GPIO pins : PA0 PA1 PA2 PA3
                           PA15 */
  GPIO_InitStruct.Pin = GPIO_PIN_0|GPIO_PIN_1|GPIO_PIN_2|GPIO_PIN_3
                          |GPIO_PIN_15;
  GPIO_InitStruct.Mode = GPIO_MODE_ANALOG;
  GPIO_InitStruct.Pull = GPIO_NOPULL;
  HAL_GPIO_Init(GPIOA, &GPIO_InitStruct);

  /*Configure GPIO pins : HIGH_2_GATE_Pin HIGH_1_GATE_Pin PWR_EN_Pin */
  GPIO_InitStruct.Pin = HIGH_2_GATE_Pin|HIGH_1_GATE_Pin|PWR_EN_Pin;
  GPIO_InitStruct.Mode = GPIO_MODE_OUTPUT_PP;
  GPIO_InitStruct.Pull = GPIO_NOPULL;
  GPIO_InitStruct.Speed = GPIO_SPEED_FREQ_LOW;
  HAL_GPIO_Init(GPIOA, &GPIO_InitStruct);

  /*Configure GPIO pin : HALL_1_OUT_Pin */
  GPIO_InitStruct.Pin = HALL_1_OUT_Pin;
  GPIO_InitStruct.Mode = GPIO_MODE_IT_RISING_FALLING;
  GPIO_InitStruct.Pull = GPIO_PULLUP;
  HAL_GPIO_Init(HALL_1_OUT_GPIO_Port, &GPIO_InitStruct);

  /*Configure GPIO pin : HALL_2_OUT_Pin */
  GPIO_InitStruct.Pin = HALL_2_OUT_Pin;
  GPIO_InitStruct.Mode = GPIO_MODE_IT_RISING_FALLING;
  GPIO_InitStruct.Pull = GPIO_PULLUP;
  HAL_GPIO_Init(HALL_2_OUT_GPIO_Port, &GPIO_InitStruct);

  /*Configure GPIO pins : PB3 PB4 PB5 */
  GPIO_InitStruct.Pin = GPIO_PIN_3|GPIO_PIN_4|GPIO_PIN_5;
  GPIO_InitStruct.Mode = GPIO_MODE_ANALOG;
  GPIO_InitStruct.Pull = GPIO_NOPULL;
  HAL_GPIO_Init(GPIOB, &GPIO_InitStruct);

  /*Configure GPIO pin : LED_Pin */
  GPIO_InitStruct.Pin = LED_Pin;
  GPIO_InitStruct.Mode = GPIO_MODE_OUTPUT_PP;
  GPIO_InitStruct.Pull = GPIO_NOPULL;
  GPIO_InitStruct.Speed = GPIO_SPEED_FREQ_LOW;
  HAL_GPIO_Init(LED_GPIO_Port, &GPIO_InitStruct);

  /*Configure GPIO pin : BUT_Pin */
  GPIO_InitStruct.Pin = BUT_Pin;
  GPIO_InitStruct.Mode = GPIO_MODE_INPUT;
  GPIO_InitStruct.Pull = GPIO_NOPULL;
  HAL_GPIO_Init(BUT_GPIO_Port, &GPIO_InitStruct);

  /* EXTI interrupt init*/
  HAL_NVIC_SetPriority(EXTI0_1_IRQn, 0, 0);
  HAL_NVIC_EnableIRQ(EXTI0_1_IRQn);

  HAL_NVIC_SetPriority(EXTI4_15_IRQn, 0, 0);
  HAL_NVIC_EnableIRQ(EXTI4_15_IRQn);

}

void Error_Handler(void)
{
}

/************************ (C) COPYRIGHT STMicroelectronics *****END OF FILE****/
